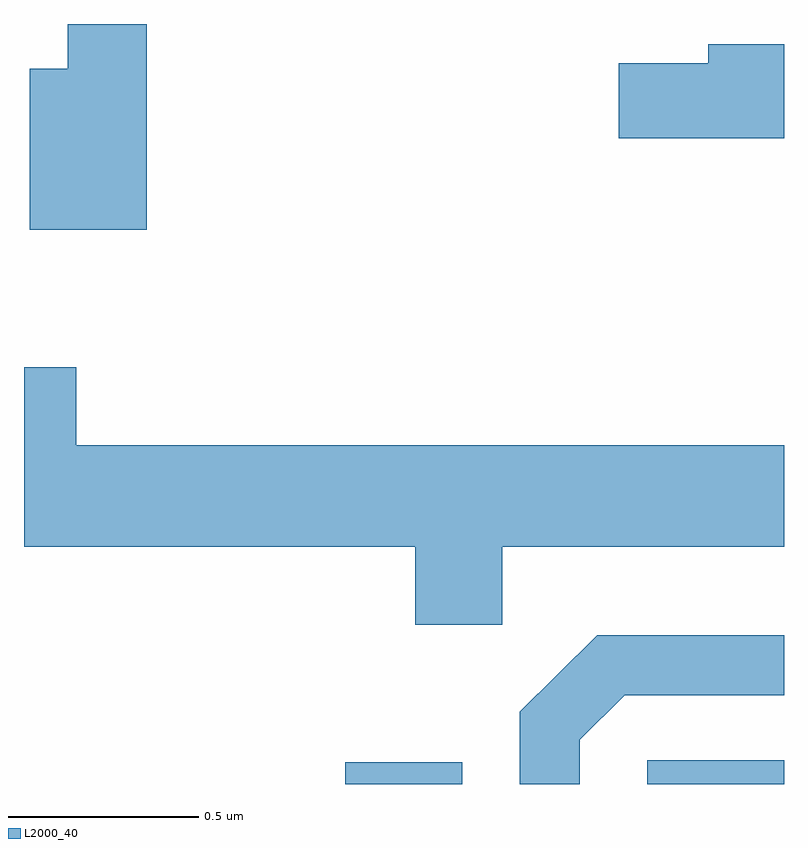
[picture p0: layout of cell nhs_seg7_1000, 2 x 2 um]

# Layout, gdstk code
import gdstk
lib = gdstk.Library(unit=1e-6, precision=1e-09)
def R(c, l, rs):  # rectangles x0, y0, x1, y1
    for r in rs: c.add(gdstk.rectangle(r[:2], r[2:], *l))
def P(c, l, *ps):  # polygons
    for p in ps: c.add(gdstk.Polygon(p, *l))
L2000_40 = (2000, 40)

nhs_seg7_1000 = lib.new_cell('nhs_seg7_1000')
R(nhs_seg7_1000, L2000_40, [(193.456,1709.252,193.764,1709.309), (194.251,1709.252,194.611,1709.314)])
P(nhs_seg7_1000, L2000_40, [(192.934,1711.252),(192.726,1711.252),(192.726,1711.134),(192.626,1711.134),(192.626,1710.711),(192.934,1710.711)],
  [(194.611,1711.199),(194.411,1711.199),(194.411,1711.149),(194.176,1711.149),(194.176,1710.951),(194.611,1710.951)],
  [(193.869,1709.876),(194.611,1709.876),(194.611,1710.144),(192.749,1710.144),(192.749,1710.349),(192.611,1710.349),(192.611,1709.876),(193.641,1709.876),(193.641,1709.671),(193.869,1709.671)],
  [(194.074,1709.369),(194.192,1709.486),(194.611,1709.486),(194.611,1709.644),(194.119,1709.644),(194.013,1709.538),(193.916,1709.442),(193.916,1709.252),(194.074,1709.252)])

lib.write_gds('nhs_seg7_1000.gds')
